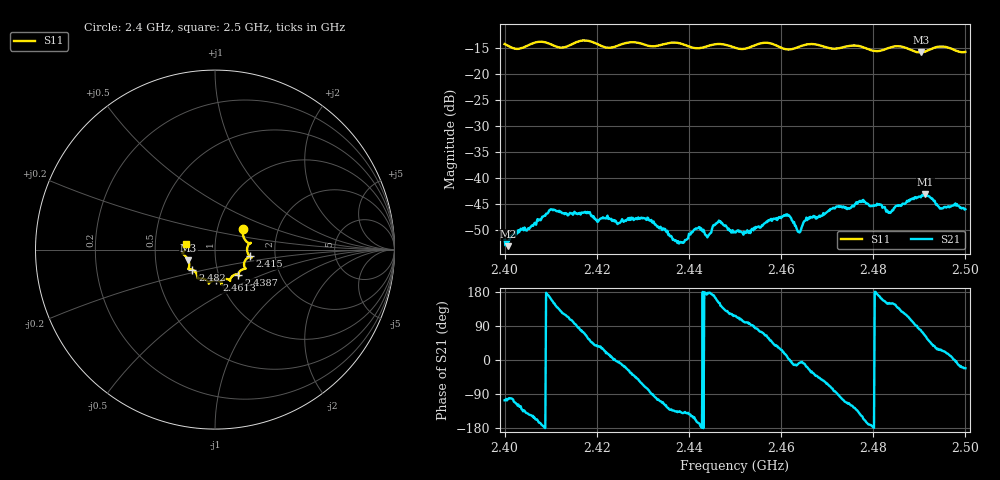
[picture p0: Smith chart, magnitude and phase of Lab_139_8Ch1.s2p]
# Hz S RI R 50
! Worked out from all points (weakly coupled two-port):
!   601 points, 2.4 GHz to 2.5 GHz, reference 50 ohm
!   highest |S21| = -43.17 dB at 2.4913 GHz (marker M1); lowest = -53.1 dB at 2.4007 GHz (marker M2)
!   lowest |S11| = -15.9 dB at 2.4903 GHz (marker M3), VSWR 1.38, Z = 36.8 - j4.45 ohm
!   |S11| at or under -10 dB: start of sweep to end of sweep
!   S12 and S22 are empty: the file has one direction only
!   S11 on the Smith chart (normalised r, x): 2.4 GHz: 1.33, +0.31; 2.415 GHz: 1.47, -0.11; 2.4387 GHz: 1.24, -0.36; 2.4613 GHz: 0.96, -0.34; 2.482 GHz: 0.76, -0.17; 2.5 GHz: 0.72, +0.05
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2.4e9  0.1575 0.1125  -0.000713 -0.00243  0 0  0 0
2.400667e9  0.156 0.1033  -0.000523 -0.00214  0 0  0 0
2.410167e9  0.1888 0.0295  -0.00463 0.00178  0 0  0 0
2.415e9  0.1927 -0.0363  -0.000684 0.00452  0 0  0 0
2.416667e9  0.2035 -0.0443  0.000916 0.00455  0 0  0 0
2.430667e9  0.1525 -0.1113  0.00117 -0.0038  0 0  0 0
2.433333e9  0.1323 -0.1316  -0.00081 -0.0033  0 0  0 0
2.438667e9  0.1305 -0.1415  -0.00182 -0.00151  0 0  0 0
2.441833e9  0.101 -0.1444  -0.00315 -0.000867  0 0  0 0
2.444333e9  0.0843 -0.1661  -0.00281 0.000185  0 0  0 0
2.446333e9  0.0839 -0.1744  -0.00333 0.00169  0 0  0 0
2.45e9  0.0684 -0.1645  -0.00133 0.00271  0 0  0 0
2.461333e9  0.00815 -0.1713  0.00441 0.000653  0 0  0 0
2.463833e9  -0.0254 -0.1797  0.00298 -0.00045  0 0  0 0
2.466667e9  -0.0345 -0.1902  0.00357 -0.0021  0 0  0 0
2.477333e9  -0.0971 -0.1553  -0.00486 -0.00326  0 0  0 0
2.482e9  -0.1262 -0.1118  -0.0048 0.00186  0 0  0 0
2.483333e9  -0.1398 -0.1088  -0.00393 0.00239  0 0  0 0
2.490333e9  -0.1492 -0.0589  0.00127 0.00637  0 0  0 0
2.491333e9  -0.158 -0.0441  0.00314 0.00619  0 0  0 0
2.494667e9  -0.1819 -0.0202  0.00454 0.00234  0 0  0 0
2.5e9  -0.1589 0.0326  0.00463 -0.00184  0 0  0 0
